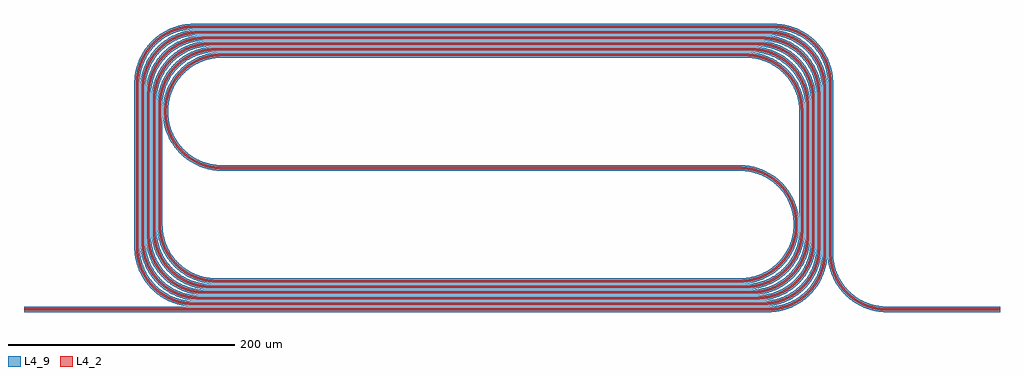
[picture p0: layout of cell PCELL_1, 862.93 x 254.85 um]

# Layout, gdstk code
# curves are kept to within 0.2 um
import gdstk
lib = gdstk.Library(unit=1e-6, precision=5e-09)
def P(c, l, *ps):  # polygons
    for p in ps: c.add(gdstk.Polygon(p, *l))
L4_2 = (4, 2)
L4_9 = (4, 9)

pcell_1_trace1 = lib.new_cell('PCELL_1_trace1')
P(pcell_1_trace1, L4_2, [(0,-0.925),(661.445,-0.805),(666.675,-0.17),(670.97,0.77),(675.165,2.08),(679.23,3.745),(683.14,5.75),(687.58,8.595),(691.7,11.88),(694.86,14.935),(697.745,18.25),(700.815,22.535),(703.425,27.115),(705.225,31.125),(706.68,35.27),(707.94,40.39),(708.665,45.61),(708.855,50),(707.005,50),(706.74,44.925),(705.775,39.08),(704.39,34.19),(702.505,29.475),(698.32,22.12),(692.93,15.6),(689.835,12.71),(685.81,9.61),(678.455,5.425),(674.54,3.82),(669.675,2.35),(661.315,1.04),(0,0.925)])
P(pcell_1_trace1, L4_9, [(0,-2.425),(661.545,-2.3),(666.04,-1.795),(671.355,-0.68),(679.86,2.38),(684.665,4.905),(688.45,7.375),(692.695,10.76),(695.945,13.9),(698.92,17.315),(702.075,21.725),(704.765,26.44),(706.62,30.565),(708.37,35.705),(709.415,40.105),(710.075,44.58),(710.355,50),(705.505,50),(705.25,45.08),(704.49,40.215),(703.47,36.24),(701.805,31.605),(699.67,27.165),(697.085,22.975),(694.61,19.7),(691.28,16.07),(684.955,10.845),(677.83,6.785),(670.11,4.01),(662.03,2.6),(0,2.425)])

pcell_1_trace2 = lib.new_cell('PCELL_1_trace2')
P(pcell_1_trace2, L4_2, [(708.855,50),(708.855,195.005),(708.665,199.39),(707.94,204.61),(706.14,211.405),(703.425,217.885),(699.84,223.93),(695.46,229.425),(690.365,234.26),(684.65,238.355),(678.43,241.62),(670.97,244.23),(664.07,245.555),(657.935,245.925),(151.45,245.8),(144.41,244.815),(136.75,242.545),(129.535,239.105),(122.95,234.575),(117.155,229.075),(112.29,222.735),(108.48,215.715),(105.81,208.18),(104.57,202.09),(104.075,195),(105.925,195),(106.11,199.28),(106.825,204.365),(107.825,208.53),(109.185,212.59),(110.89,216.515),(113.38,221.005),(115.805,224.535),(119.11,228.47),(122.16,231.47),(126.155,234.705),(129.725,237.065),(134.26,239.48),(138.215,241.115),(143.13,242.62),(148.17,243.6),(152.43,244.01),(657.925,244.075),(663.845,243.72),(670.495,242.44),(676.905,240.26),(683.68,236.78),(689.185,232.835),(694.095,228.175),(698.32,222.88),(701.77,217.055),(704.39,210.81),(706.125,204.265),(706.74,200.075),(707.005,194.995),(707.005,50)])
P(pcell_1_trace2, L4_9, [(710.355,50),(710.355,195.01),(710.075,200.42),(709.415,204.895),(707.56,211.89),(704.765,218.56),(700.555,225.52),(695.945,231.1),(690.615,235.99),(684.665,240.1),(678.2,243.35),(671.355,245.68),(664.25,247.045),(657.94,247.425),(151.345,247.3),(143.205,246.08),(135.36,243.61),(128,239.94),(121.3,235.16),(115.435,229.395),(110.54,222.78),(107.105,216.325),(104.36,208.57),(102.965,201.39),(102.575,195),(107.425,195),(107.605,199.145),(108.3,204.08),(109.505,208.91),(110.89,212.825),(112.61,216.6),(115.1,220.91),(118.025,224.94),(120.775,228.05),(124.42,231.445),(127.71,233.97),(131.935,236.61),(135.65,238.465),(143.49,241.165),(148.38,242.115),(152.51,242.51),(657.92,242.575),(664.48,242.125),(670.11,240.99),(676.325,238.875),(682.19,235.925),(687.59,232.195),(692.43,227.76),(696.61,222.7),(700.055,217.11),(702.7,211.1),(704.49,204.785),(705.16,200.735),(705.5,195.82),(705.505,50)])

pcell_1_trace3 = lib.new_cell('PCELL_1_trace3')
P(pcell_1_trace3, L4_2, [(104.075,195),(104.075,59.995),(104.35,54.735),(105.165,49.525),(107.08,42.765),(109.91,36.335),(113.595,30.35),(118.07,24.935),(123.25,20.185),(129.79,15.75),(136.125,12.705),(142.815,10.555),(148.86,9.445),(154.995,9.075),(651.445,9.195),(659.26,10.35),(666.805,12.705),(673.9,16.195),(680.365,20.74),(686.05,26.23),(690.815,32.535),(693.02,36.335),(694.895,40.31),(697.375,47.815),(698.485,53.86),(698.855,60),(697.005,60),(696.74,54.925),(696.125,50.74),(695.145,46.62),(693.51,41.81),(691.385,37.195),(689.255,33.535),(686.3,29.4),(683.52,26.21),(680.475,23.265),(676.5,20.1),(669.225,15.785),(664.54,13.82),(660.495,12.56),(655.525,11.515),(651.315,11.04),(155.005,10.925),(149.085,11.285),(143.255,12.35),(136.81,14.42),(130.705,17.36),(124.4,21.63),(119.41,26.21),(115.1,31.43),(111.545,37.195),(108.82,43.39),(106.975,49.905),(106.19,54.925),(105.93,59.155),(105.925,195)])
P(pcell_1_trace3, L4_9, [(102.575,195),(102.575,59.99),(102.855,54.58),(103.695,49.22),(105.98,41.41),(109.005,34.84),(112.91,28.75),(117.61,23.25),(123.025,18.455),(129.05,14.45),(135.565,11.31),(142.455,9.1),(148.68,7.955),(154.99,7.575),(651.545,7.7),(659.595,8.89),(667.365,11.31),(675.44,15.37),(682.01,20.165),(687.765,25.92),(692.56,32.49),(696.275,39.73),(698.83,47.455),(699.975,53.68),(700.355,60),(695.505,60),(695.33,55.9),(694.65,51.02),(693.7,47.025),(692.115,42.365),(690.43,38.62),(687.995,34.34),(685.125,30.34),(682.43,27.24),(678.86,23.85),(675.625,21.32),(672.19,19.075),(667.83,16.785),(664.03,15.23),(659.315,13.81),(654.48,12.88),(650.395,12.49),(155.01,12.425),(149.265,12.77),(143.615,13.81),(137.365,15.815),(131.45,18.665),(125.985,22.3),(121.07,26.65),(116.805,31.64),(113.26,37.165),(110.515,43.13),(108.62,49.415),(107.77,54.265),(107.43,59.18),(107.425,195)])

pcell_1_trace4 = lib.new_cell('PCELL_1_trace4')
P(pcell_1_trace4, L4_2, [(698.855,60),(698.855,185.005),(698.485,191.14),(697.58,196.335),(695.545,203.06),(692.605,209.44),(688.815,215.36),(684.25,220.7),(678.29,225.89),(672.37,229.68),(665.99,232.615),(659.26,234.65),(653.195,235.655),(647.935,235.925),(161.45,235.8),(157.035,235.3),(152.68,234.415),(145.1,231.88),(138.015,228.19),(131.59,223.435),(125.99,217.735),(121.35,211.23),(117.785,204.08),(115.38,196.455),(114.455,191.205),(114.075,185),(115.925,185),(116.11,189.28),(116.825,194.365),(117.825,198.53),(119.185,202.59),(120.89,206.515),(123.38,211.005),(125.805,214.535),(129.11,218.47),(132.16,221.47),(136.155,224.705),(139.725,227.065),(144.26,229.48),(148.215,231.115),(153.13,232.62),(157.325,233.47),(161.575,233.955),(647.925,234.075),(653.005,233.815),(658.85,232.845),(665.33,230.885),(671.485,228.055),(677.185,224.405),(682.33,220),(686.82,214.93),(690.985,208.555),(693.815,202.405),(695.775,195.92),(696.645,190.915),(697,185.85),(697.005,60)])
P(pcell_1_trace4, L4_9, [(700.355,60),(700.355,185.01),(699.975,191.32),(699.04,196.665),(696.95,203.59),(693.925,210.16),(690.02,216.255),(685.32,221.75),(679.905,226.545),(673.88,230.555),(667.365,233.69),(660.475,235.905),(654.25,237.045),(647.94,237.425),(161.345,237.3),(153.205,236.08),(145.36,233.61),(138,229.94),(131.3,225.16),(125.435,219.395),(120.54,212.78),(116.39,204.64),(113.92,196.795),(112.86,190.48),(112.575,185),(117.425,185),(117.605,189.145),(118.3,194.08),(119.505,198.91),(120.89,202.825),(122.61,206.6),(125.1,210.91),(130.205,217.445),(133.165,220.355),(137.035,223.49),(140.495,225.78),(144.895,228.12),(149.51,229.985),(153.49,231.165),(161.68,232.46),(647.92,232.575),(653.665,232.23),(658.515,231.385),(664.8,229.485),(670.765,226.74),(676.29,223.2),(681.28,218.93),(685.63,214.015),(689.265,208.55),(692.115,202.635),(694.12,196.385),(695.16,190.735),(695.5,185.82),(695.505,60)])

pcell_1_trace5 = lib.new_cell('PCELL_1_trace5')
P(pcell_1_trace5, L4_2, [(114.075,185),(114.085,69.12),(114.445,63.86),(115.555,57.815),(117.705,51.125),(120.75,44.79),(124.645,38.94),(129.305,33.68),(134.64,29.115),(140.56,25.325),(146.94,22.385),(153.67,20.35),(158.86,19.445),(164.995,19.075),(641.445,19.195),(649.26,20.35),(653.5,21.515),(657.62,23.035),(664.65,26.65),(671.035,31.305),(674.25,34.305),(677.19,37.565),(681.735,44.03),(685.225,51.125),(687.58,58.67),(688.485,63.86),(688.855,70),(687.005,70),(686.74,64.925),(686.125,60.74),(685.145,56.62),(683.51,51.81),(681.385,47.195),(679.255,43.535),(676.3,39.4),(673.52,36.21),(670.475,33.265),(666.5,30.1),(659.225,25.785),(654.54,23.82),(650.495,22.56),(645.525,21.515),(641.315,21.04),(165.005,20.925),(159.925,21.19),(154.08,22.155),(147.6,24.115),(141.445,26.945),(135.745,30.6),(130.6,35),(126.11,40.07),(122.36,45.705),(119.42,51.81),(117.35,58.255),(116.39,63.245),(115.93,69.155),(115.925,185)])
P(pcell_1_trace5, L4_9, [(112.575,185),(112.585,69.095),(113.075,62.785),(114.32,56.575),(116.655,49.73),(119.905,43.265),(124.01,37.315),(128.9,31.985),(134.48,27.375),(140.635,23.58),(147.26,20.67),(154.22,18.695),(159.58,17.855),(164.99,17.575),(641.545,17.7),(649.595,18.89),(658.2,21.655),(665.44,25.37),(672.695,30.76),(678.345,36.61),(683.025,43.265),(686.95,51.41),(689.235,59.22),(690.075,64.58),(690.355,70),(685.505,70),(684.8,61.83),(683.92,57.82),(682.415,53.13),(680.795,49.36),(678.43,45.035),(675.63,40.985),(672.99,37.84),(669.48,34.39),(666.29,31.805),(662.895,29.5),(658.57,27.135),(654.03,25.23),(650.11,24.01),(646.1,23.13),(641.21,22.54),(165.01,22.425),(160.08,22.68),(155.215,23.44),(148.9,25.23),(142.89,27.875),(137.305,31.32),(132.24,35.5),(127.805,40.34),(124.075,45.74),(121.125,51.605),(119.01,57.82),(117.88,63.45),(117.43,69.18),(117.425,185)])

pcell_1_trace6 = lib.new_cell('PCELL_1_trace6')
P(pcell_1_trace6, L4_2, [(688.855,70),(688.845,175.88),(688.37,182.01),(687.16,188.04),(684.895,194.69),(681.735,200.97),(677.745,206.75),(672.995,211.93),(667.58,216.405),(661.595,220.095),(655.165,222.92),(648.405,224.835),(643.195,225.655),(637.935,225.925),(171.45,225.8),(167.035,225.3),(162.68,224.415),(155.1,221.88),(148.015,218.19),(141.59,213.435),(138.37,210.375),(135.425,207.05),(130.9,200.465),(127.455,193.25),(126.05,189.04),(125.01,184.72),(124.2,178.555),(124.105,173.245),(124.56,167.99),(125.77,161.96),(127.385,156.94),(129.505,152.115),(132.115,147.535),(135.74,142.565),(139.935,138.07),(143.94,134.645),(149.03,131.195),(153.7,128.745),(158.595,126.79),(163.67,125.35),(168.86,124.445),(175,124.075),(175,125.925),(169.925,126.19),(164.905,126.975),(159.995,128.275),(155.245,130.075),(147.825,134.135),(144.4,136.63),(141.21,139.41),(137.71,143.095),(135.1,146.43),(130.785,153.71),(127.785,161.62),(126.805,165.74),(126.19,169.925),(125.93,174.155),(126.11,179.28),(126.67,183.525),(127.595,187.705),(129.185,192.59),(130.89,196.515),(132.935,200.275),(135.3,203.845),(140.91,210.305),(144.785,213.675),(148.27,216.16),(151.96,218.33),(156.615,220.505),(164.795,223.005),(169.87,223.805),(175.005,224.075),(637.925,224.075),(643.005,223.815),(647.19,223.195),(653.74,221.46),(660.735,218.455),(666.5,214.9),(671.72,210.59),(676.3,205.6),(680.145,200.025),(683.19,193.975),(685.37,187.565),(686.54,181.755),(687,175.85),(687.005,70)])
P(pcell_1_trace6, L4_9, [(690.355,70),(690.345,175.905),(689.855,182.215),(688.61,188.425),(686.275,195.27),(683.025,201.735),(678.92,207.69),(674.03,213.02),(668.45,217.625),(662.295,221.42),(655.67,224.335),(648.71,226.305),(643.35,227.145),(637.94,227.425),(171.345,227.3),(162.315,225.87),(154.515,223.26),(147.22,219.46),(140.605,214.565),(134.84,208.7),(129.6,201.215),(126.055,193.79),(123.72,185.9),(122.86,180.48),(122.575,175),(122.955,168.68),(123.89,163.335),(125.37,158.115),(127.765,152.255),(130.37,147.495),(134.01,142.315),(138.25,137.61),(142.315,134.015),(147.49,130.37),(152.255,127.765),(158.115,125.37),(163.335,123.89),(169.58,122.855),(175,122.575),(175,127.425),(170.08,127.68),(166.02,128.28),(161.24,129.46),(156.605,131.125),(152.165,133.265),(147.975,135.845),(144.7,138.32),(141.07,141.65),(135.845,147.975),(131.785,155.1),(129.01,162.82),(127.68,170.08),(127.43,174.18),(127.605,179.145),(129.045,187.315),(131.88,195.105),(134.22,199.505),(136.51,202.965),(141.95,209.225),(145.06,211.975),(149.09,214.9),(156.41,218.795),(161.09,220.495),(165.11,221.535),(170.025,222.315),(175.01,222.575),(637.92,222.575),(642.85,222.32),(647.715,221.56),(654.03,219.77),(660.04,217.125),(664.955,214.155),(670.09,210.06),(674.61,205.3),(678.43,199.965),(681.48,194.15),(683.7,187.975),(685.05,181.55),(685.5,175.82),(685.505,70)])

pcell_1_trace7 = lib.new_cell('PCELL_1_trace7')
P(pcell_1_trace7, L4_2, [(175,124.075),(632.925,124.075),(638.005,123.81),(642.19,123.195),(647.125,121.98),(651.905,120.26),(656.485,118.055),(660.81,115.39),(664.835,112.29),(668.52,108.79),(671.3,105.6),(674.255,101.47),(676.385,97.805),(678.51,93.19),(680.145,88.385),(681.125,84.265),(681.82,79.23),(682.005,75),(681.735,69.87),(681.105,65.635),(680.105,61.475),(677.04,53.485),(674.995,49.725),(672.63,46.155),(669.965,42.805),(667.02,39.7),(661.08,34.8),(657.465,32.5),(653.67,30.525),(649.715,28.885),(645.63,27.595),(641.45,26.67),(637.205,26.11),(170.005,25.925),(164.925,26.19),(160.74,26.805),(154.19,28.54),(147.195,31.545),(141.43,35.1),(136.21,39.41),(131.63,44.4),(127.785,49.975),(124.74,56.025),(122.56,62.435),(121.39,68.245),(120.93,74.155),(120.925,180),(119.075,180),(119.085,74.12),(119.69,67.12),(121.25,60.27),(123.745,53.7),(127.595,46.8),(131.88,41.23),(137.565,35.74),(144.03,31.195),(150.31,28.035),(156.96,25.77),(164.735,24.35),(169.995,24.075),(632.935,24.075),(637.37,24.27),(641.775,24.85),(646.11,25.81),(650.345,27.145),(654.45,28.845),(658.395,30.9),(662.14,33.285),(665.665,35.99),(668.94,38.99),(671.94,42.265),(674.645,45.79),(677.03,49.535),(679.085,53.48),(680.785,57.585),(682.12,61.82),(683.575,69.675),(683.855,75),(683.665,79.39),(682.94,84.61),(681.68,89.73),(679.895,94.69),(677.605,99.44),(675.335,103.2),(672.19,107.435),(669.25,110.7),(665.365,114.26),(661.13,117.405),(657.37,119.675),(652.62,121.965),(647.66,123.75),(642.54,125.01),(638.195,125.655),(632.935,125.925),(175,125.925)])
P(pcell_1_trace7, L4_9, [(175,122.575),(632.92,122.575),(637.85,122.32),(642.715,121.56),(646.69,120.54),(651.325,118.875),(655.765,116.74),(659.955,114.155),(663.23,111.68),(666.86,108.35),(670.125,104.665),(672.995,100.66),(675.055,97.11),(677.115,92.635),(678.7,87.975),(679.8,83.17),(680.33,79.1),(680.5,74.17),(680.245,70.025),(678.66,61.885),(675.69,54.145),(671.42,47.035),(665.98,40.775),(660.22,36.03),(653.035,31.88),(645.245,29.045),(637.075,27.605),(170.01,27.425),(165.9,27.6),(161.02,28.28),(154.675,29.96),(148.62,32.5),(142.975,35.845),(137.84,39.94),(133.32,44.7),(129.5,50.035),(126.45,55.85),(124.23,62.025),(122.88,68.45),(122.43,74.18),(122.425,180),(117.575,180),(117.585,74.095),(118.205,66.89),(119.815,59.835),(122.38,53.07),(126.345,45.97),(130.76,40.235),(136.61,34.585),(142.49,30.37),(149.73,26.655),(156.575,24.32),(164.58,22.855),(169.99,22.575),(637.5,22.775),(645.615,24.13),(654.255,27.105),(662.245,31.54),(669.35,37.29),(675.345,44.185),(680.05,52.02),(681.875,56.215),(683.325,60.55),(685.07,69.52),(685.355,75),(685.16,79.52),(684.415,84.895),(683.37,89.295),(681.95,93.59),(679.765,98.56),(677.075,103.275),(673.92,107.685),(670.32,111.75),(666.32,115.42),(661.96,118.655),(658.09,120.995),(653.2,123.35),(648.095,125.185),(642.825,126.485),(638.35,127.145),(632.94,127.425),(175,127.425)])

pcell_1_trace8 = lib.new_cell('PCELL_1_trace8')
P(pcell_1_trace8, L4_2, [(120.925,180),(121.19,185.075),(121.805,189.265),(122.785,193.385),(124.42,198.195),(126.545,202.805),(128.675,206.47),(133.835,213.175),(137.455,216.735),(140.745,219.405),(144.25,221.78),(148.705,224.215),(153.39,226.18),(157.435,227.44),(165.77,228.895),(642.925,229.075),(648.005,228.815),(652.19,228.195),(658.74,226.46),(665.735,223.455),(671.5,219.9),(676.72,215.59),(681.3,210.6),(685.57,204.295),(688.51,198.195),(690.58,191.745),(691.54,186.755),(692,180.85),(692.005,65),(693.855,65),(693.845,180.88),(693.485,186.14),(692.375,192.19),(690.225,198.88),(687.18,205.21),(682.745,211.75),(677.995,216.93),(672.58,221.405),(666.595,225.095),(660.165,227.92),(652.54,230.01),(648.195,230.655),(642.935,230.925),(169.995,230.925),(164.735,230.655),(160.39,230.01),(155.27,228.75),(151.125,227.3),(146.335,225.095),(142.535,222.885),(138.25,219.815),(134.935,216.93),(131.305,213.11),(128.09,208.93),(125.325,204.44),(123.035,199.69),(121.25,194.73),(119.69,187.88),(119.085,180.88),(119.075,180)])
P(pcell_1_trace8, L4_9, [(122.425,180),(123.13,188.17),(124.01,192.18),(125.515,196.87),(127.135,200.645),(129.5,204.965),(132.3,209.015),(134.94,212.16),(138.45,215.61),(141.64,218.2),(145.035,220.5),(149.36,222.865),(157.025,225.775),(161.83,226.87),(165.9,227.4),(642.92,227.575),(647.85,227.32),(652.715,226.56),(659.03,224.77),(665.04,222.125),(670.625,218.68),(675.69,214.5),(680.125,209.665),(683.855,204.26),(686.805,198.395),(688.92,192.18),(690.05,186.55),(690.5,180.82),(690.505,65),(695.355,65),(695.345,180.905),(694.855,187.215),(693.61,193.425),(691.275,200.27),(688.025,206.735),(683.92,212.69),(679.03,218.02),(673.45,222.625),(666.49,226.835),(659.815,229.63),(652.825,231.485),(648.35,232.145),(642.94,232.425),(169.99,232.425),(164.58,232.145),(160.105,231.485),(154.835,230.185),(149.73,228.35),(144.84,225.995),(140.97,223.655),(136.61,220.42),(132.61,216.75),(129.01,212.69),(125.37,207.51),(122.38,201.93),(120.085,196.03),(118.515,189.895),(117.855,185.42),(117.575,180)])

pcell_1_trace9 = lib.new_cell('PCELL_1_trace9')
P(pcell_1_trace9, L4_2, [(692.005,65),(691.82,60.725),(691.105,55.635),(690.105,51.475),(688.745,47.415),(687.04,43.485),(684.55,38.995),(682.125,35.465),(679.4,32.16),(675.77,28.53),(672.465,25.805),(668.935,23.38),(664.445,20.89),(659.715,18.885),(655.63,17.595),(651.45,16.67),(647.205,16.11),(160.005,15.925),(154.925,16.19),(149.905,16.975),(143.39,18.82),(136.445,21.945),(130.745,25.6),(125.6,30),(121.11,35.07),(116.945,41.445),(114.115,47.6),(112.155,54.08),(111.285,59.085),(110.93,64.155),(110.925,190),(109.075,190),(109.075,64.995),(109.445,58.86),(110.35,53.67),(112.385,46.94),(115.75,39.79),(119.645,33.94),(124.305,28.68),(129.64,24.115),(135.56,20.325),(142.765,17.08),(149.525,15.165),(154.735,14.35),(159.995,14.075),(642.935,14.075),(647.37,14.27),(652.645,15.01),(656.965,16.05),(661.18,17.455),(666.05,19.625),(670.665,22.29),(674.285,24.87),(677.66,27.755),(681.365,31.59),(684.645,35.79),(687.47,40.31),(689.805,45.1),(691.365,49.265),(693.08,56.155),(693.825,63.225),(693.855,65)])
P(pcell_1_trace9, L4_9, [(690.505,65),(690.325,60.855),(689.63,55.92),(687.345,47.95),(683.71,40.495),(681.42,37.035),(678.285,33.165),(672.22,27.51),(668.84,25.1),(664.53,22.61),(659.98,20.585),(656.045,19.27),(652.01,18.3),(647.075,17.605),(160.01,17.425),(155.08,17.68),(150.215,18.44),(143.9,20.23),(137.165,23.26),(131.64,26.805),(126.65,31.07),(122.3,35.985),(118.665,41.45),(115.815,47.365),(113.81,53.615),(112.77,59.265),(112.43,64.18),(112.425,190),(107.575,190),(107.575,64.99),(107.955,58.68),(108.89,53.335),(110.98,46.41),(114.005,39.84),(118.455,33.025),(123.25,27.61),(128.75,22.91),(134.84,19.005),(141.41,15.98),(149.22,13.695),(154.58,12.855),(159.99,12.575),(642.94,12.575),(648.41,12.86),(653.83,13.72),(658.26,14.865),(663.415,16.74),(667.54,18.71),(672.245,21.54),(676.63,24.84),(680.64,28.58),(683.67,32.01),(687.39,37.22),(690.445,42.845),(692.5,47.93),(694.21,54.1),(695.07,59.52),(695.355,65)])

pcell_1_trace10 = lib.new_cell('PCELL_1_trace10')
P(pcell_1_trace10, L4_2, [(110.925,190),(111.19,195.075),(111.805,199.265),(112.785,203.385),(114.42,208.195),(116.545,212.805),(118.675,216.47),(123.835,223.175),(127.455,226.735),(130.745,229.405),(134.25,231.78),(138.705,234.215),(143.39,236.18),(147.435,237.44),(155.77,238.895),(652.925,239.075),(658.005,238.815),(663.85,237.845),(670.33,235.885),(676.485,233.055),(682.185,229.405),(687.33,225),(691.82,219.93),(695.985,213.555),(698.815,207.405),(700.775,200.92),(701.645,195.915),(702,190.85),(702.005,55),(703.855,55),(703.855,190.005),(703.58,195.265),(702.765,200.475),(700.85,207.235),(697.605,214.44),(693.815,220.36),(689.25,225.7),(683.29,230.89),(677.37,234.68),(670.99,237.615),(664.26,239.65),(658.195,240.655),(652.935,240.925),(159.995,240.925),(155.61,240.735),(151.255,240.17),(146.115,238.995),(141.125,237.3),(137.115,235.495),(133.28,233.355),(128.94,230.36),(124.935,226.93),(121.88,223.77),(118.595,219.65),(115.75,215.21),(113.385,210.5),(111.515,205.57),(109.83,198.75),(109.105,191.76),(109.075,190)])
P(pcell_1_trace10, L4_9, [(112.425,190),(113.13,198.17),(114.01,202.18),(115.515,206.87),(117.135,210.645),(119.5,214.965),(122.3,219.015),(124.94,222.16),(128.45,225.61),(131.64,228.2),(135.035,230.5),(139.36,232.865),(147.025,235.775),(151.83,236.87),(155.9,237.4),(652.92,237.575),(658.665,237.23),(663.515,236.385),(669.8,234.485),(675.765,231.74),(681.945,227.705),(686.86,223.35),(691.125,218.36),(694.67,212.835),(697.415,206.87),(699.31,200.585),(700.16,195.735),(700.5,190.82),(700.505,55),(705.355,55),(705.355,190.01),(705.075,195.42),(704.235,200.785),(701.95,208.59),(698.925,215.16),(695.02,221.255),(690.32,226.75),(684.905,231.545),(678.88,235.555),(671.52,239.02),(664.595,241.11),(659.25,242.045),(652.94,242.425),(155.48,242.23),(150.105,241.485),(145.705,240.44),(140.565,238.69),(135.635,236.42),(130.97,233.655),(126.61,230.42),(122.61,226.75),(119.585,223.39),(115.855,218.275),(112.765,212.745),(110.37,206.89),(108.695,200.785),(107.855,195.42),(107.575,190)])

pcell_1_trace11 = lib.new_cell('PCELL_1_trace11')
P(pcell_1_trace11, L4_2, [(702.005,55),(701.82,50.725),(701.105,45.635),(700.105,41.475),(698.745,37.415),(697.04,33.485),(694.55,28.995),(692.125,25.465),(689.4,22.16),(685.77,18.53),(682.465,15.805),(678.935,13.38),(674.445,10.89),(669.715,8.885),(665.63,7.595),(661.45,6.67),(657.205,6.11),(150.005,5.925),(144.085,6.285),(138.255,7.35),(131.81,9.42),(125.705,12.36),(119.4,16.63),(114.41,21.21),(110.1,26.43),(106.545,32.195),(103.54,39.19),(101.805,45.74),(101.19,49.925),(100.925,55.005),(100.925,200),(99.075,200),(99.075,54.995),(99.265,50.61),(99.99,45.39),(101.79,38.595),(104.505,32.115),(108.595,25.35),(113.07,19.935),(118.25,15.185),(124.79,10.75),(131.125,7.705),(137.815,5.555),(143.86,4.445),(149.995,4.075),(652.935,4.075),(657.37,4.27),(662.645,5.01),(666.965,6.05),(671.18,7.455),(676.05,9.625),(680.665,12.29),(684.285,14.87),(687.66,17.755),(691.365,21.59),(694.645,25.79),(697.47,30.31),(699.805,35.1),(701.365,39.265),(703.08,46.155),(703.825,53.225),(703.855,55)])
P(pcell_1_trace11, L4_9, [(700.505,55),(700.325,50.855),(699.63,45.92),(697.345,37.95),(693.71,30.495),(691.42,27.035),(688.285,23.165),(682.22,17.51),(678.84,15.1),(674.53,12.61),(669.98,10.585),(666.045,9.27),(662.01,8.3),(657.075,7.605),(150.01,7.425),(144.265,7.77),(138.615,8.81),(132.365,10.815),(126.45,13.665),(120.985,17.3),(116.07,21.65),(111.805,26.64),(108.26,32.165),(105.23,38.9),(103.44,45.215),(102.77,49.265),(102.43,54.18),(102.425,200),(97.575,200),(97.575,54.99),(97.855,49.58),(98.695,44.22),(100.98,36.41),(104.005,29.84),(107.91,23.75),(112.61,18.25),(118.025,13.455),(124.05,9.45),(130.565,6.31),(137.455,4.1),(143.68,2.955),(149.99,2.575),(657.5,2.775),(662.935,3.54),(668.26,4.865),(673.415,6.74),(677.54,8.71),(681.485,11.035),(685.92,14.26),(689.35,17.29),(693.09,21.3),(696.895,26.445),(700.05,32.02),(702.5,37.93),(704.21,44.1),(705.07,49.52),(705.355,55)])

pcell_1_trace12 = lib.new_cell('PCELL_1_trace12')
P(pcell_1_trace12, L4_2, [(100.925,200),(101.19,205.075),(101.805,209.265),(102.785,213.385),(104.42,218.195),(106.545,222.805),(108.675,226.47),(113.835,233.175),(117.455,236.735),(120.745,239.405),(124.25,241.78),(128.705,244.215),(133.39,246.18),(137.435,247.44),(145.77,248.895),(662.925,249.075),(668.845,248.72),(674.675,247.65),(681.12,245.58),(687.225,242.64),(693.53,238.37),(698.52,233.79),(702.83,228.57),(706.385,222.805),(709.11,216.61),(711.125,209.265),(711.74,205.075),(712.005,199.995),(712.005,50),(713.855,50),(713.855,200.005),(713.665,204.39),(712.94,209.61),(711.14,216.405),(708.425,222.885),(704.335,229.65),(699.86,235.065),(693.99,240.36),(688.14,244.25),(681.805,247.3),(675.115,249.445),(669.07,250.555),(662.935,250.925),(149.995,250.925),(145.61,250.735),(141.255,250.17),(136.115,248.995),(131.125,247.3),(127.115,245.495),(123.28,243.355),(118.94,240.36),(114.935,236.93),(111.88,233.77),(108.595,229.65),(105.75,225.21),(103.385,220.5),(101.515,215.57),(99.83,208.75),(99.105,201.76),(99.075,200)])
P(pcell_1_trace12, L4_9, [(102.425,200),(103.13,208.17),(104.01,212.18),(105.515,216.87),(107.135,220.645),(109.5,224.965),(112.3,229.015),(114.94,232.16),(118.45,235.61),(121.64,238.2),(125.035,240.5),(129.36,242.865),(137.025,245.775),(141.83,246.87),(145.9,247.4),(662.92,247.575),(668.665,247.23),(674.315,246.195),(680.565,244.185),(686.48,241.34),(691.945,237.705),(697.43,232.76),(701.61,227.7),(705.055,222.11),(707.7,216.1),(709.49,209.785),(710.16,205.735),(710.5,200.82),(710.505,50),(715.355,50),(715.355,200.01),(715.075,205.42),(714.415,209.895),(712.56,216.89),(709.765,223.56),(705.555,230.52),(700.945,236.1),(695.615,240.99),(689.665,245.1),(683.2,248.35),(675.475,250.905),(669.25,252.045),(662.94,252.425),(145.48,252.23),(140.105,251.485),(135.705,250.44),(130.565,248.69),(125.635,246.42),(120.97,243.655),(116.61,240.42),(112.61,236.75),(109.585,233.39),(105.855,228.275),(102.765,222.745),(100.37,216.89),(98.695,210.785),(97.855,205.42),(97.575,200)])

pcell_1_trace13 = lib.new_cell('PCELL_1_trace13')
P(pcell_1_trace13, L4_2, [(712.005,50),(712.62,42.12),(714.445,34.43),(717.435,27.115),(721.525,20.35),(726.61,14.305),(732.57,9.115),(739.265,4.91),(746.525,1.79),(754.185,-0.17),(761.17,-0.895),(862.93,-0.925),(862.93,0.925),(761.235,0.955),(753.67,1.805),(747.12,3.54),(740.125,6.545),(734.36,10.1),(729.14,14.41),(724.04,20.07),(720.29,25.705),(717.35,31.81),(715.715,36.62),(714.735,40.74),(714.12,44.925),(713.855,50)])
P(pcell_1_trace13, L4_9, [(710.505,50),(711.135,41.89),(713.015,33.97),(716.095,26.44),(720.305,19.48),(725.54,13.25),(731.68,7.91),(738.565,3.58),(746.045,0.37),(753.035,-1.485),(761.12,-2.395),(862.93,-2.425),(862.93,2.425),(762.11,2.43),(754.76,3.13),(747.605,4.96),(741.55,7.5),(735.905,10.845),(730.77,14.94),(726.25,19.7),(721.595,26.45),(718.16,33.9),(716.06,41.83),(715.355,50)])

pcell_1 = lib.new_cell('PCELL_1')
pcell_1.add(gdstk.Reference(pcell_1_trace1, (0,0)))
pcell_1.add(gdstk.Reference(pcell_1_trace2, (0,0)))
pcell_1.add(gdstk.Reference(pcell_1_trace3, (0,0)))
pcell_1.add(gdstk.Reference(pcell_1_trace4, (0,0)))
pcell_1.add(gdstk.Reference(pcell_1_trace5, (0,0)))
pcell_1.add(gdstk.Reference(pcell_1_trace6, (0,0)))
pcell_1.add(gdstk.Reference(pcell_1_trace7, (0,0)))
pcell_1.add(gdstk.Reference(pcell_1_trace8, (0,0)))
pcell_1.add(gdstk.Reference(pcell_1_trace9, (0,0)))
pcell_1.add(gdstk.Reference(pcell_1_trace10, (0,0)))
pcell_1.add(gdstk.Reference(pcell_1_trace11, (0,0)))
pcell_1.add(gdstk.Reference(pcell_1_trace12, (0,0)))
pcell_1.add(gdstk.Reference(pcell_1_trace13, (0,0)))

lib.write_gds('PCELL_1.gds')
